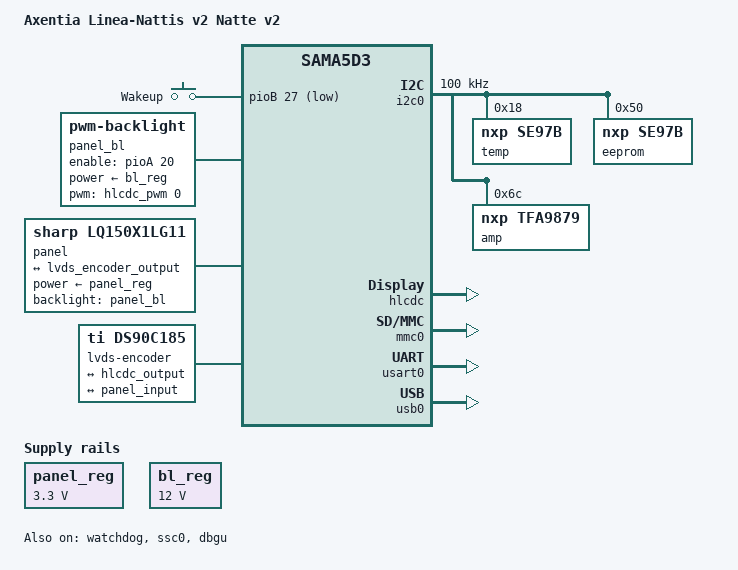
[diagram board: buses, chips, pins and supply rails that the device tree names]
// SPDX-License-Identifier: GPL-2.0+
/*
 * at91-nattis-2-natte-2.dts - Device Tree file for the Linea/Nattis board
 *
 * Copyright (C) 2017 Axentia Technologies AB
 *
 * Author: Peter Rosin <peda@axentia.se>
 */
/dts-v1/;
#include "at91-linea.dtsi"
#include "sama5d3_lcd.dtsi"
#include "at91-natte.dtsi"

/ {
	model = "Axentia Linea-Nattis v2 Natte v2";
	compatible = "axentia,nattis-2", "axentia,natte-2", "axentia,linea",
		     "atmel,sama5d31", "atmel,sama5d3", "atmel,sama5";

	gpio-keys {
		compatible = "gpio-keys";

		wakeup {
			label = "Wakeup";
			linux,code = <10>;
			gpio-key,wakeup;
			gpios = <&pioB 27 GPIO_ACTIVE_LOW>;
		};
	};

	panel_reg: panel-regulator {
		compatible = "regulator-fixed";
		regulator-name = "panel-VCC";
		regulator-min-microvolt = <3300000>;
		regulator-max-microvolt = <3300000>;
	};

	bl_reg: backlight-regulator {
		compatible = "regulator-fixed";
		regulator-name = "panel-VDD";
		regulator-min-microvolt = <12000000>;
		regulator-max-microvolt = <12000000>;
	};

	panel_bl: backlight {
		compatible = "pwm-backlight";
		pwms = <&hlcdc_pwm 0 100000 0>;

		brightness-levels = < 0  1  2  3  4  5  6  7  8  9
				     10 11 12 13 14 15 16 17 18 19
				     20 21 22 23 24 25 26 27 28 29
				     30 31 32 33 34 35 36 37 38 39
				     40 41 42 43 44 45 46 47 48 49
				     50 51 52 53 54 55 56 57 58 59
				     60 61 62 63 64 65 66 67 68 69
				     70 71 72 73 74 75 76 77 78 79
				     80 81 82 83 84 85 86 87 88 89
				     90 91 92 93 94 95 96 97 98 99
				    100>;
		default-brightness-level = <40>;

		power-supply = <&bl_reg>;
		enable-gpios = <&pioA 20 GPIO_ACTIVE_HIGH>;
		pinctrl-names = "default";
		pinctrl-0 = <&pinctrl_blon>;
	};

	panel: panel {
		compatible = "sharp,lq150x1lg11", "panel-lvds";

		backlight = <&panel_bl>;
		power-supply = <&panel_reg>;

		width-mm = <304>;
		height-mm = <228>;

		data-mapping = "jeida-18";

		panel-timing {
			// 1024x768 @ 60Hz (typical)
			clock-frequency = <50000000 65000000 80000000>;
			hactive = <1024>;
			vactive = <768>;
			hfront-porch = <48 88 88>;
			hback-porch = <96 168 168>;
			hsync-len = <32 64 64>;
			vsync-len = <3 13 74>;
			vfront-porch = <3 13 74>;
			vback-porch = <3 12 74>;
		};

		port {
			panel_input: endpoint {
				remote-endpoint = <&lvds_encoder_output>;
			};
		};
	};

	lvds-encoder {
		compatible = "ti,ds90c185", "lvds-encoder";

		pinctrl-names = "default";
		pinctrl-0 = <&pinctrl_lvds_prlud0 &pinctrl_lvds_hipow0>;

		ports {
			#address-cells = <1>;
			#size-cells = <0>;

			port@0 {
				reg = <0>;

				lvds_encoder_input: endpoint {
					remote-endpoint = <&hlcdc_output>;
				};
			};

			port@1 {
				reg = <1>;

				lvds_encoder_output: endpoint {
					remote-endpoint = <&panel_input>;
				};
			};
		};
	};

	sound {
		compatible = "simple-audio-card";

		simple-audio-card,name = "nattis-tfa9879";
		simple-audio-card,format = "i2s";
		simple-audio-card,bitclock-master = <&cpu_dai>;
		simple-audio-card,frame-master = <&cpu_dai>;
		simple-audio-card,widgets = "Line", "Line Out Jack";
		simple-audio-card,routing = "Line Out Jack", "LINEOUT";

		cpu_dai: simple-audio-card,cpu {
			sound-dai = <&ssc0>;
		};

		simple-audio-card,codec {
			sound-dai = <&amp>;
		};
	};
};

&pinctrl {
	nattis {
		pinctrl_usba_vbus: usba_vbus {
			atmel,pins = <AT91_PIOD 28 AT91_PERIPH_GPIO
				      AT91_PINCTRL_DEGLITCH>;
		};

		pinctrl_mmc0_cd: mmc0_cd {
			atmel,pins = <AT91_PIOD  5 AT91_PERIPH_GPIO
				      AT91_PINCTRL_PULL_UP_DEGLITCH>;
		};

		pinctrl_lvds_prlud0: lvds_prlud0 {
			atmel,pins = <AT91_PIOA 21 AT91_PERIPH_GPIO
				      (AT91_PINCTRL_OUTPUT |
				       AT91_PINCTRL_OUTPUT_VAL(0))>;
		};

		pinctrl_lvds_hipow0: lvds_hipow0 {
			atmel,pins = <AT91_PIOA 23 AT91_PERIPH_GPIO
				      (AT91_PINCTRL_OUTPUT |
				       AT91_PINCTRL_OUTPUT_VAL(0))>;
		};

		pinctrl_blon: blon {
			atmel,pins = <AT91_PIOA 20 AT91_PERIPH_GPIO
				      (AT91_PINCTRL_OUTPUT |
				       AT91_PINCTRL_OUTPUT_VAL(0))>;
		};
	};
};

&watchdog {
	status = "okay";
};

&i2c0 {
	status = "okay";

	clock-frequency = <100000>;

	temp@18 {
		compatible = "nxp,se97b", "jedec,jc-42.4-temp";
		reg = <0x18>;
		smbus-timeout-disable;
	};

	eeprom@50 {
		compatible = "nxp,se97b", "atmel,24c02";
		reg = <0x50>;
		pagesize = <16>;
	};

	amp: amplifier@6c {
		 compatible = "nxp,tfa9879";
		 reg = <0x6c>;
		 #sound-dai-cells = <0>;
	};
};

&ssc0 {
	status = "okay";

	atmel,clk-from-rk-pin;
	#sound-dai-cells = <0>;
};

&hlcdc {
	status = "okay";

	hlcdc-display-controller {
		pinctrl-names = "default";
		pinctrl-0 = <&pinctrl_lcd_base &pinctrl_lcd_rgb565>;

		port@0 {
			hlcdc_output: endpoint {
				remote-endpoint = <&lvds_encoder_input>;
				bus-width = <16>;
			};
		};
	};
};

&mmc0 {
	status = "okay";

	pinctrl-0 = <&pinctrl_mmc0_clk_cmd_dat0
		     &pinctrl_mmc0_dat1_3
		     &pinctrl_mmc0_cd>;

	slot@0 {
		reg = <0>;
		bus-width = <4>;
		cd-gpios = <&pioD 5 GPIO_ACTIVE_HIGH>;
		cd-inverted;
	};
};

&usart0 {
	status = "okay";

	pinctrl-names = "default";
	pinctrl-0 = <&pinctrl_usart0>;
	atmel,use-dma-rx;
};

&nand {
	partitions {
		compatible = "fixed-partitions";
		#address-cells = <1>;
		#size-cells = <1>;

		at91bootstrap@0 {
			label = "at91bootstrap";
			reg = <0x0 0x40000>;
		};

		barebox@40000 {
			label = "barebox";
			reg = <0x40000 0x60000>;
		};

		bareboxenv@c0000 {
			label = "bareboxenv";
			reg = <0xc0000 0x40000>;
		};

		bareboxenv2@100000 {
			label = "bareboxenv2";
			reg = <0x100000 0x40000>;
		};

		oftree@180000 {
			label = "oftree";
			reg = <0x180000 0x20000>;
		};

		kernel@200000 {
			label = "kernel";
			reg = <0x200000 0x500000>;
		};

		rootfs@800000 {
			label = "rootfs";
			reg = <0x800000 0x1f800000>;
		};
	};
};

&dbgu {
	status = "okay";

	atmel,use-dma-rx;
};

&usb0 {
	status = "okay";

	atmel,vbus-gpio = <&pioD 28 GPIO_ACTIVE_HIGH>;
	pinctrl-names = "default";
	pinctrl-0 = <&pinctrl_usba_vbus>;
};
